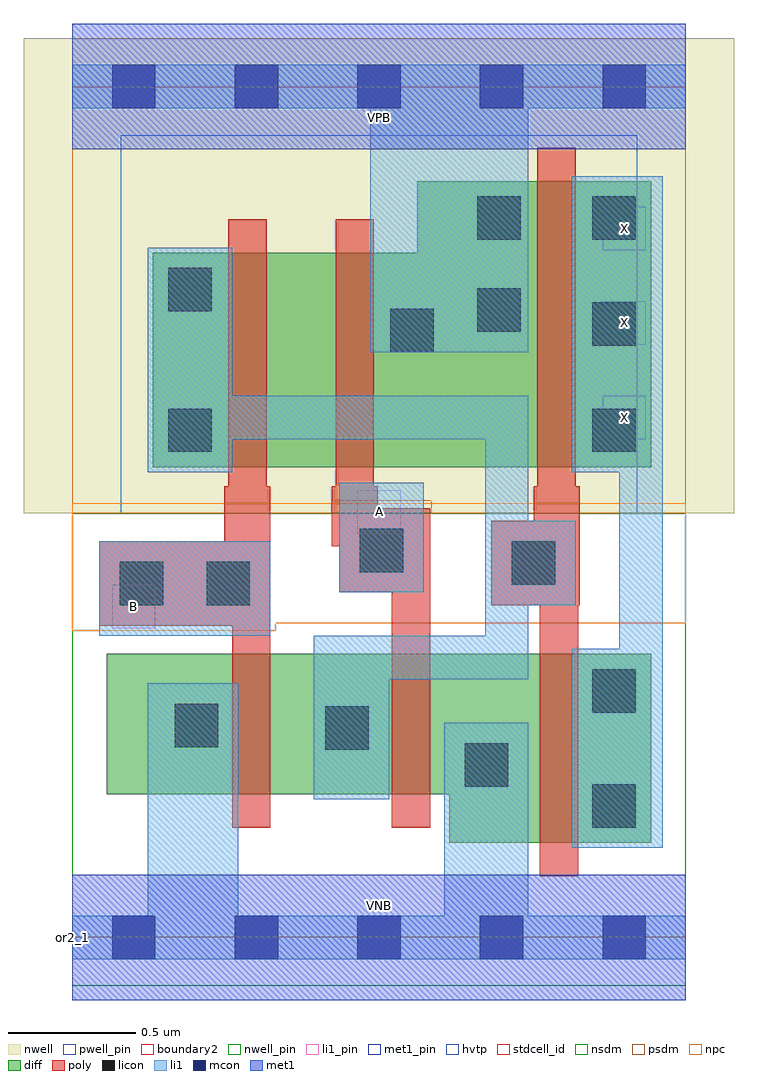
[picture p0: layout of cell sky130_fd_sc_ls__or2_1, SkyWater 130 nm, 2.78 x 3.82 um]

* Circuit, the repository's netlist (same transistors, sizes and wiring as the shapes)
* Copyright 2020 The SkyWater PDK Authors
*
* Licensed under the Apache License, Version 2.0 (the "License");
* you may not use this file except in compliance with the License.
* You may obtain a copy of the License at
*
*     https://www.apache.org/licenses/LICENSE-2.0
*
* Unless required by applicable law or agreed to in writing, software
* distributed under the License is distributed on an "AS IS" BASIS,
* WITHOUT WARRANTIES OR CONDITIONS OF ANY KIND, either express or implied.
* See the License for the specific language governing permissions and
* limitations under the License.
*
* SPDX-License-Identifier: Apache-2.0

.SUBCKT sky130_fd_sc_ls__or2_1 A B VGND VNB VPB VPWR X
*.PININFO A:I B:I VGND:I VNB:I VPB:I VPWR:I X:O
MMP0 VPWR A sndPA VPB sky130_fd_pr__pfet_01v8_hvt m=1 w=0.84U l=0.15U mult=1 sa=0.265
+ sb=0.265 sd=0.28 area=0.063 perim=1.14
MMP1 sndPA B y VPB sky130_fd_pr__pfet_01v8_hvt m=1 w=0.84U l=0.15U mult=1 sa=0.265
+ sb=0.265 sd=0.28 area=0.063 perim=1.14
MMIP2 X y VPWR VPB sky130_fd_pr__pfet_01v8_hvt m=1 w=1.12U l=0.15U mult=1 sa=0.265
+ sb=0.265 sd=0.28 area=0.063 perim=1.14
MMN0 y A VGND VNB sky130_fd_pr__nfet_01v8 m=1 w=0.55U l=0.15U mult=1 sa=0.265 sb=0.265
+ sd=0.28 area=0.063 perim=1.14
MMN1 y B VGND VNB sky130_fd_pr__nfet_01v8 m=1 w=0.55U l=0.15U mult=1 sa=0.265 sb=0.265
+ sd=0.28 area=0.063 perim=1.14
MMIN2 X y VGND VNB sky130_fd_pr__nfet_01v8 m=1 w=0.74U l=0.15U mult=1 sa=0.265
+ sb=0.265 sd=0.28 area=0.063 perim=1.14
.ENDS sky130_fd_sc_ls__or2_1

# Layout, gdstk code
import gdstk
lib = gdstk.Library(unit=1e-6, precision=1e-09)
def R(c, l, rs):  # rectangles x0, y0, x1, y1
    for r in rs: c.add(gdstk.rectangle(r[:2], r[2:], *l))
def A(c, l, x, y, w, h, nx, ny, dx, dy):  # array of equal rectangles
    R(c, l, [(x+i*dx, y+j*dy, x+i*dx+w, y+j*dy+h) for i in range(nx) for j in range(ny)])
def P(c, l, *ps):  # polygons
    for p in ps: c.add(gdstk.Polygon(p, *l))
nwell_pin = (64, 16)
nwell = (64, 20)
diff = (65, 20)
poly = (66, 20)
licon = (66, 44)
li1_pin = (67, 16)
li1 = (67, 20)
mcon = (67, 44)
met1_pin = (68, 16)
met1 = (68, 20)
hvtp = (78, 44)
stdcell_id = (81, 4)
nsdm = (93, 44)
psdm = (94, 20)
npc = (95, 20)
pwell_pin = (122, 16)
boundary2 = (236, 0)

sky130_fd_sc_ls__or2_1 = lib.new_cell('sky130_fd_sc_ls__or2_1')
R(sky130_fd_sc_ls__or2_1, nwell_pin, [(0,3.085,2.4,3.33)])
R(sky130_fd_sc_ls__or2_1, nwell, [(-0.19,1.66,2.59,3.52)])
P(sky130_fd_sc_ls__or2_1, diff, [(2.265,2.96),(1.35,2.96),(1.35,2.68),(0.315,2.68),(0.315,1.84),(2.265,1.84)],
  [(2.265,1.11),(0.135,1.11),(0.135,0.56),(1.475,0.56),(1.475,0.37),(2.265,0.37)])
P(sky130_fd_sc_ls__or2_1, poly, [(0.775,1.765),(0.76,1.765),(0.76,2.81),(0.61,2.81),(0.61,1.765),(0.595,1.765),(0.595,1.55),(0.105,1.55),(0.105,1.22),(0.625,1.22),(0.625,0.43),(0.775,0.43)],
  [(1.4,1.68),(1.195,1.68),(1.195,1.765),(1.18,1.765),(1.18,2.81),(1.03,2.81),(1.03,1.765),(1.015,1.765),(1.015,1.53),(1.045,1.53),(1.045,1.35),(1.25,1.35),(1.25,0.43),(1.4,0.43)],
  [(1.985,1.765),(1.97,1.765),(1.97,3.09),(1.82,3.09),(1.82,1.765),(1.805,1.765),(1.805,1.63),(1.64,1.63),(1.64,1.3),(1.83,1.3),(1.83,0.24),(1.98,0.24),(1.98,1.3),(1.985,1.3)])
A(sky130_fd_sc_ls__or2_1, licon, 2.035, 1.9, 0.17, 0.17, 1, 3, 0, 0.415)
R(sky130_fd_sc_ls__or2_1, licon, [(2.035,0.43,2.205,0.6), (1.535,0.59,1.705,0.76), (0.99,0.735,1.16,0.905), (0.4,0.745,0.57,0.915), (2.035,0.88,2.205,1.05), (0.185,1.3,0.355,1.47), (0.525,1.3,0.695,1.47), (1.72,1.38,1.89,1.55), (1.125,1.43,1.295,1.6), (0.375,1.9,0.545,2.07), (1.245,2.29,1.415,2.46), (1.585,2.37,1.755,2.54), (0.375,2.45,0.545,2.62), (1.585,2.73,1.755,2.9)])
A(sky130_fd_sc_ls__or2_1, li1_pin, 2.075, 1.95, 0.17, 0.17, 1, 3, 0, 0.37)
R(sky130_fd_sc_ls__or2_1, li1_pin, [(0.155,1.21,0.325,1.38), (1.115,1.58,1.285,1.75)])
R(sky130_fd_sc_ls__or2_1, li1, [(0.105,1.18,0.775,1.55), (1.045,1.35,1.375,1.78)])
P(sky130_fd_sc_ls__or2_1, li1, [(1.165,2.29),(1.165,3.245),(0,3.245),(0,3.415),(2.4,3.415),(2.4,3.245),(1.785,3.245),(1.785,2.29)],
  [(1.455,0.085),(1.455,0.84),(1.785,0.84),(1.785,0.085),(2.4,0.085),(2.4,-0.085),(0,-0.085),(0,0.085),(0.295,0.085),(0.295,0.995),(0.65,0.995),(0.65,0.085)],
  [(1.785,1.01),(1.24,1.01),(1.24,0.54),(0.945,0.54),(0.945,1.18),(1.615,1.18),(1.615,1.95),(0.625,1.95),(0.625,1.82),(0.295,1.82),(0.295,2.7),(0.625,2.7),(0.625,2.12),(1.785,2.12),(1.785,1.63),(1.97,1.63),(1.97,1.3),(1.785,1.3)],
  [(2.14,1.13),(2.14,1.82),(1.955,1.82),(1.955,2.98),(2.31,2.98),(2.31,0.35),(1.955,0.35),(1.955,1.13)])
A(sky130_fd_sc_ls__or2_1, mcon, 0.155, -0.085, 0.17, 0.17, 5, 2, 0.48, 3.33)
R(sky130_fd_sc_ls__or2_1, met1_pin, [(0,0,2.4,0.245), (0,3.085,2.4,3.33)])
R(sky130_fd_sc_ls__or2_1, met1, [(0,-0.245,2.4,0.245), (0,3.085,2.4,3.575)])
R(sky130_fd_sc_ls__or2_1, hvtp, [(0.19,1.66,2.21,3.14)])
R(sky130_fd_sc_ls__or2_1, stdcell_id, [(0,0,2.4,3.33)])
R(sky130_fd_sc_ls__or2_1, nsdm, [(0,-0.19,2.4,1.66)])
P(sky130_fd_sc_ls__or2_1, psdm, [(2.4,3.52),(0,3.52),(0,1.66),(1.015,1.66),(1.015,1.71),(1.405,1.71),(1.405,1.66),(2.4,1.66)])
P(sky130_fd_sc_ls__or2_1, npc, [(2.4,1.7),(0,1.7),(0,1.2),(0.795,1.2),(0.795,1.23),(2.4,1.23)])
R(sky130_fd_sc_ls__or2_1, pwell_pin, [(0,0,2.4,0.245)])
R(sky130_fd_sc_ls__or2_1, boundary2, [(0,0,2.4,3.33)])
sky130_fd_sc_ls__or2_1.add(gdstk.Label('or2_1', (0,0), layer=83, texttype=44))
sky130_fd_sc_ls__or2_1.add(gdstk.Label('VNB', (1.2,0.123), layer=64, texttype=59))
sky130_fd_sc_ls__or2_1.add(gdstk.Label('VPB', (1.2,3.208), layer=64, texttype=5))
sky130_fd_sc_ls__or2_1.add(gdstk.Label('VPWR', (1.2,3.208), layer=68, texttype=5))
sky130_fd_sc_ls__or2_1.add(gdstk.Label('VGND', (1.2,0.123), layer=68, texttype=5))
sky130_fd_sc_ls__or2_1.add(gdstk.Label('B', (0.24,1.295), layer=67, texttype=5))
sky130_fd_sc_ls__or2_1.add(gdstk.Label('A', (1.2,1.665), layer=67, texttype=5))
sky130_fd_sc_ls__or2_1.add(gdstk.Label('X', (2.16,2.035), layer=67, texttype=5))
sky130_fd_sc_ls__or2_1.add(gdstk.Label('X', (2.16,2.405), layer=67, texttype=5))
sky130_fd_sc_ls__or2_1.add(gdstk.Label('X', (2.16,2.775), layer=67, texttype=5))

lib.write_gds('sky130_fd_sc_ls__or2_1.gds')
